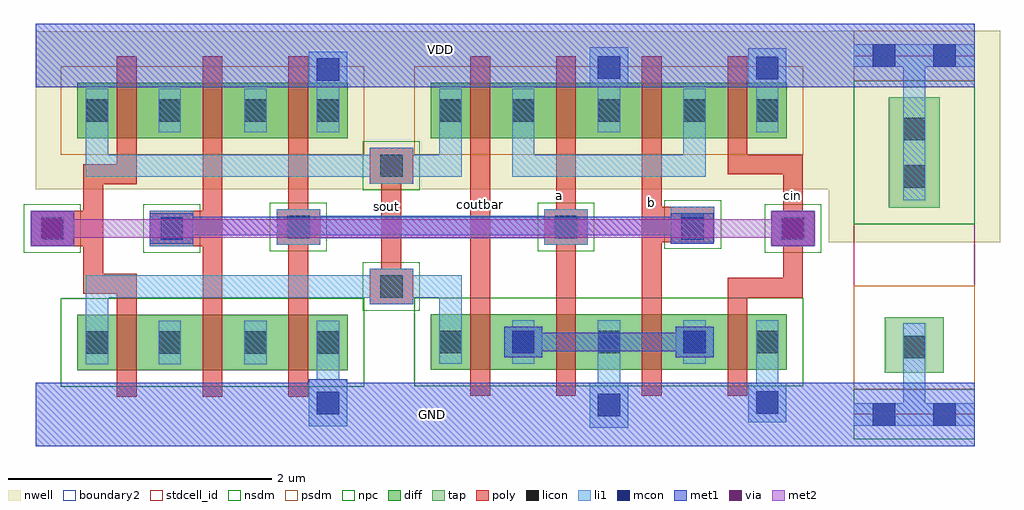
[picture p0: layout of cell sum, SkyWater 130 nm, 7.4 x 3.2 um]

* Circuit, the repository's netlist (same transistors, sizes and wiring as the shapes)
** sch_path: /home/joyen/ee5311/EE5311/assignments/assignment7/sum.sch
.subckt sum VDD a b coutbar cin sout GND
*.PININFO sout:O a:I VDD:B GND:B b:I coutbar:I cin:I
XM1 sout coutbar net4 GND sky130_fd_pr__nfet_01v8 L=0.15 W=0.42 nf=1
XM2 net1 b VDD VDD sky130_fd_pr__pfet_01v8 L=0.15 W=0.42 nf=1
XM4 sout coutbar net1 VDD sky130_fd_pr__pfet_01v8 L=0.15 W=0.42 nf=1
XM5 net1 a VDD VDD sky130_fd_pr__pfet_01v8 L=0.15 W=0.42 nf=1
XM6 net1 cin VDD VDD sky130_fd_pr__pfet_01v8 L=0.15 W=0.42 nf=1
XM7 net3 a VDD VDD sky130_fd_pr__pfet_01v8 L=0.15 W=0.42 nf=1
XM3 net2 b net3 VDD sky130_fd_pr__pfet_01v8 L=0.15 W=0.42 nf=1
XM8 sout cin net2 VDD sky130_fd_pr__pfet_01v8 L=0.15 W=0.42 nf=1
XM9 net4 a GND GND sky130_fd_pr__nfet_01v8 L=0.15 W=0.42 nf=1
XM10 net4 b GND GND sky130_fd_pr__nfet_01v8 L=0.15 W=0.42 nf=1
XM11 net4 cin GND GND sky130_fd_pr__nfet_01v8 L=0.15 W=0.42 nf=1
XM12 sout cin net6 GND sky130_fd_pr__nfet_01v8 L=0.15 W=0.42 nf=1
XM13 net6 b net5 GND sky130_fd_pr__nfet_01v8 L=0.15 W=0.42 nf=1
XM14 net5 a GND GND sky130_fd_pr__nfet_01v8 L=0.15 W=0.42 nf=1
.ends

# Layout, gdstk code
from math import pi, radians
import gdstk
lib = gdstk.Library(unit=1e-6, precision=1e-09)
def R(c, l, rs):  # rectangles x0, y0, x1, y1
    for r in rs: c.add(gdstk.rectangle(r[:2], r[2:], *l))
def A(c, l, x, y, w, h, nx, ny, dx, dy):  # array of equal rectangles
    R(c, l, [(x+i*dx, y+j*dy, x+i*dx+w, y+j*dy+h) for i in range(nx) for j in range(ny)])
nwell = (64, 20)
diff = (65, 20)
tap = (65, 44)
poly = (66, 20)
licon = (66, 44)
li1 = (67, 20)
mcon = (67, 44)
met1 = (68, 20)
via = (68, 44)
met2 = (69, 20)
stdcell_id = (81, 4)
nsdm = (93, 44)
psdm = (94, 20)
npc = (95, 20)
boundary2 = (236, 0)

vias_gen_10 = lib.new_cell('vias_gen$10')
R(vias_gen_10, li1, [(0,0,0.325,0.23)])
R(vias_gen_10, mcon, [(0.08,0.03,0.25,0.2)])
R(vias_gen_10, met1, [(0,0,0.325,0.23)])

vias_gen_8 = lib.new_cell('vias_gen$8')
R(vias_gen_8, li1, [(0,0,0.33,0.23)])
R(vias_gen_8, mcon, [(0.08,0.03,0.25,0.2)])
R(vias_gen_8, met1, [(0,0,0.33,0.23)])

vias_gen_7 = lib.new_cell('vias_gen$7')
R(vias_gen_7, poly, [(0,0,0.33,0.27)])
R(vias_gen_7, licon, [(0.08,0.05,0.25,0.22)])
R(vias_gen_7, li1, [(0,0,0.33,0.27)])
R(vias_gen_7, npc, [(-0.05,-0.05,0.38,0.32)])

pfet_1 = lib.new_cell('pfet$1')
R(pfet_1, nwell, [(-0.315,-0.39,2.365,0.81)])
R(pfet_1, diff, [(0,0,2.05,0.42)])
A(pfet_1, poly, 0.3, -0.2, 0.15, 0.82, 3, 1, 0.65, 0)
R(pfet_1, licon, [(0.065,0.125,0.235,0.295), (0.615,0.125,0.785,0.295), (1.265,0.125,1.435,0.295), (1.815,0.125,1.985,0.295)])
R(pfet_1, li1, [(0.065,0.045,0.235,0.375), (0.615,0.045,0.785,0.375), (1.265,0.045,1.435,0.375), (1.815,0.045,1.985,0.375)])
R(pfet_1, psdm, [(-0.125,-0.125,2.175,0.545)])

nfet_1 = lib.new_cell('nfet$1')
R(nfet_1, diff, [(0,0,2.05,0.42)])
A(nfet_1, poly, 0.3, -0.2, 0.15, 0.82, 3, 1, 0.65, 0)
R(nfet_1, licon, [(0.065,0.125,0.235,0.295), (0.615,0.125,0.785,0.295), (1.265,0.125,1.435,0.295), (1.815,0.125,1.985,0.295)])
R(nfet_1, li1, [(0.065,0.045,0.235,0.375), (0.615,0.045,0.785,0.375), (1.265,0.045,1.435,0.375), (1.815,0.045,1.985,0.375)])
R(nfet_1, nsdm, [(-0.125,-0.125,2.175,0.545)])

pfet = lib.new_cell('pfet')
R(pfet, nwell, [(-0.315,-0.39,3.015,0.81)])
R(pfet, diff, [(0,0,2.7,0.42)])
A(pfet, poly, 0.3, -0.2, 0.15, 0.82, 4, 1, 0.65, 0)
A(pfet, licon, 0.615, 0.125, 0.17, 0.17, 3, 1, 0.65, 0)
R(pfet, licon, [(0.065,0.125,0.235,0.295), (2.465,0.125,2.635,0.295)])
A(pfet, li1, 0.615, 0.045, 0.17, 0.33, 3, 1, 0.65, 0)
R(pfet, li1, [(0.065,0.045,0.235,0.375), (2.465,0.045,2.635,0.375)])
R(pfet, psdm, [(-0.125,-0.125,2.825,0.545)])

vias_gen = lib.new_cell('vias_gen')
R(vias_gen, li1, [(0,0,0.29,0.295)])
R(vias_gen, mcon, [(0.06,0.06,0.23,0.23)])
R(vias_gen, met1, [(0,0,0.29,0.295)])

vias_gen_1 = lib.new_cell('vias_gen$1')
R(vias_gen_1, li1, [(0,0,0.29,0.305)])
R(vias_gen_1, mcon, [(0.06,0.065,0.23,0.235)])
R(vias_gen_1, met1, [(0,0,0.29,0.305)])

vias_gen_2 = lib.new_cell('vias_gen$2')
R(vias_gen_2, li1, [(0,0,0.29,0.27)])
R(vias_gen_2, mcon, [(0.06,0.05,0.23,0.22)])
R(vias_gen_2, met1, [(0,0,0.29,0.27)])

nfet = lib.new_cell('nfet')
R(nfet, diff, [(0,0,2.7,0.42)])
A(nfet, poly, 0.3, -0.2, 0.15, 0.82, 4, 1, 0.65, 0)
A(nfet, licon, 0.615, 0.125, 0.17, 0.17, 3, 1, 0.65, 0)
R(nfet, licon, [(0.065,0.125,0.235,0.295), (2.465,0.125,2.635,0.295)])
A(nfet, li1, 0.615, 0.045, 0.17, 0.33, 3, 1, 0.65, 0)
R(nfet, li1, [(0.065,0.045,0.235,0.375), (2.465,0.045,2.635,0.375)])
R(nfet, nsdm, [(-0.125,-0.125,2.825,0.545)])

vias_gen_6 = lib.new_cell('vias_gen$6')
R(vias_gen_6, li1, [(0,0,0.29,0.3)])
R(vias_gen_6, mcon, [(0.06,0.065,0.23,0.235)])
R(vias_gen_6, met1, [(0,0,0.29,0.3)])

vias_gen_4 = lib.new_cell('vias_gen$4')
R(vias_gen_4, li1, [(0,0,0.29,0.34)])
R(vias_gen_4, mcon, [(0.06,0.085,0.23,0.255)])
R(vias_gen_4, met1, [(0,0,0.29,0.34)])

vias_gen_5 = lib.new_cell('vias_gen$5')
R(vias_gen_5, li1, [(0,0,0.29,0.355)])
R(vias_gen_5, mcon, [(0.06,0.09,0.23,0.26)])
R(vias_gen_5, met1, [(0,0,0.29,0.355)])

tap_ = lib.new_cell('tap')
R(tap_, nwell, [(-0.19,1.305,1.11,2.91)])
R(tap_, tap, [(0.235,0.315,0.685,0.735), (0.265,1.565,0.655,2.405)])
R(tap_, licon, [(0.375,0.425,0.545,0.595), (0.375,1.72,0.545,1.89), (0.375,2.08,0.545,2.25)])
R(tap_, li1, [(0,-0.085,0.92,0.085), (0.375,0,0.545,0.69), (0.375,1.625,0.545,2.72), (0,2.635,0.92,2.805)])
R(tap_, mcon, [(0.145,-0.085,0.315,0.085), (0.605,-0.085,0.775,0.085), (0.145,2.635,0.315,2.805), (0.605,2.635,0.775,2.805)])
R(tap_, met1, [(0,-0.24,0.92,0.24), (0,2.48,0.92,2.96)])
R(tap_, stdcell_id, [(0,0,0.92,2.72)])
R(tap_, nsdm, [(0,-0.19,0.92,0.19), (0,1.44,0.92,2.53)])
R(tap_, psdm, [(0,0.19,0.92,0.975), (0,2.53,0.92,2.91)])
R(tap_, boundary2, [(0,0,0.92,2.72)])
tap_.add(gdstk.Label('tap', (0,0), layer=83, texttype=44))

vias_gen_11 = lib.new_cell('vias_gen$11')
R(vias_gen_11, met1, [(0,0,0.32,0.26)])
R(vias_gen_11, via, [(0.085,0.055,0.235,0.205)])
R(vias_gen_11, met2, [(0,0,0.32,0.26)])

vias_gen_12 = lib.new_cell('vias_gen$12')
R(vias_gen_12, li1, [(0,0,0.29,0.23)])
R(vias_gen_12, mcon, [(0.06,0.03,0.23,0.2)])
R(vias_gen_12, met1, [(0,0,0.29,0.23)])

sum = lib.new_cell('sum')
sum.add(gdstk.FlexPath([(-2.59,-0.765),(-1.12,-0.765)], 0.14, ends="flush", simple_path=True, layer=68, datatype=20))  # met1
sum.add(gdstk.FlexPath([(-5.335,0.115),(-1.06,0.115)], 0.14, ends="flush", simple_path=True, layer=68, datatype=20))  # met1
sum.add(gdstk.FlexPath([(0,1.405),(-6.2,1.405)], 0.48, ends="flush", simple_path=True, layer=68, datatype=20))  # met1
sum.add(gdstk.FlexPath([(0.05,-1.315),(-6.2,-1.315)], 0.48, ends="flush", simple_path=True, layer=68, datatype=20))  # met1
sum.add(gdstk.FlexPath([(-6.235,0.095),(-0.385,0.095)], 0.14, ends="flush", simple_path=True, layer=69, datatype=20))  # met2
sum.add(gdstk.FlexPath([(-6,0.095),(-6.15,0.095)], 0.17, ends="flush", simple_path=True, layer=67, datatype=20))  # li1
sum.add(gdstk.FlexPath([(-0.385,0.095),(-0.535,0.095)], 0.17, ends="flush", simple_path=True, layer=67, datatype=20))  # li1
sum.add(gdstk.FlexPath([(-1.205,0.825),(-1.205,0.57),(-2.505,0.57),(-2.505,0.825)], 0.17, ends="flush", simple_path=True, layer=67, datatype=20))  # li1
sum.add(gdstk.FlexPath([(-3.055,0.825),(-3.055,0.57),(-5.735,0.57),(-5.735,0.825)], 0.17, ends="flush", simple_path=True, layer=67, datatype=20))  # li1
sum.add(gdstk.FlexPath([(-3.055,-0.6),(-3.055,-0.345),(-5.735,-0.345),(-5.735,-0.63)], 0.17, ends="flush", simple_path=True, layer=67, datatype=20))  # li1
sum.add(gdstk.FlexPath([(-4.285,0.105),(-2.105,0.105)], 0.17, ends="flush", simple_path=True, layer=67, datatype=20))  # li1
sum.add(gdstk.FlexPath([(-1.295,0.125),(-1.145,0.125)], 0.17, ends="flush", simple_path=True, layer=67, datatype=20))  # li1
sum.add(gdstk.FlexPath([(-5.095,0.095),(-5.245,0.095)], 0.17, ends="flush", simple_path=True, layer=67, datatype=20))  # li1
sum.add(gdstk.FlexPath([(-3.985,-0.935),(-3.985,-1.405)], 0.17, ends="flush", simple_path=True, layer=67, datatype=20))  # li1
sum.add(gdstk.FlexPath([(-0.655,1.155),(-0.655,1.46)], 0.17, ends="flush", simple_path=True, layer=67, datatype=20))  # li1
sum.add(gdstk.FlexPath([(-1.855,1.155),(-1.855,1.47)], 0.17, ends="flush", simple_path=True, layer=67, datatype=20))  # li1
sum.add(gdstk.FlexPath([(-0.655,-0.93),(-0.655,-1.375)], 0.17, ends="flush", simple_path=True, layer=67, datatype=20))  # li1
sum.add(gdstk.FlexPath([(-3.985,1.155),(-3.985,1.435)], 0.17, ends="flush", simple_path=True, layer=67, datatype=20))  # li1
sum.add(gdstk.FlexPath([(-1.855,-0.93),(-1.855,-1.415)], 0.17, ends="flush", simple_path=True, layer=67, datatype=20))  # li1
sum.add(gdstk.FlexPath([(-5.84,0.095),(-6.24,0.095)], 0.27, ends="flush", simple_path=True, layer=66, datatype=20))  # poly
sum.add(gdstk.FlexPath([(-1.455,0.125),(-1.055,0.125)], 0.27, ends="flush", simple_path=True, layer=66, datatype=20))  # poly
sum.add(gdstk.FlexPath([(-4.935,0.095),(-5.335,0.095)], 0.27, ends="flush", simple_path=True, layer=66, datatype=20))  # poly
sum.add(gdstk.FlexPath([(-3.505,0.655),(-3.505,-0.43)], 0.15, ends="flush", simple_path=True, layer=66, datatype=20))  # poly
sum.add(gdstk.FlexPath([(-0.955,-0.355),(-0.46,-0.355),(-0.46,0.58),(-0.955,0.58)], 0.15, ends="flush", simple_path=True, layer=66, datatype=20))  # poly
sum.add(gdstk.FlexPath([(-5.51,-0.36),(-5.51,-0.325),(-5.765,-0.325),(-5.765,0.505),(-5.435,0.505),(-5.435,0.505)], 0.15, ends="flush", simple_path=True, layer=66, datatype=20))  # poly
sum.add(gdstk.FlexPath([(-1.53,0.58),(-1.53,-0.355)], 0.15, ends="flush", simple_path=True, layer=66, datatype=20))  # poly
sum.add(gdstk.FlexPath([(-2.18,0.58),(-2.18,-0.355)], 0.15, ends="flush", simple_path=True, layer=66, datatype=20))  # poly
sum.add(gdstk.FlexPath([(-2.83,0.58),(-2.83,-0.355)], 0.15, ends="flush", simple_path=True, layer=66, datatype=20))  # poly
sum.add(gdstk.FlexPath([(-4.21,0.58),(-4.21,-0.385)], 0.15, ends="flush", simple_path=True, layer=66, datatype=20))  # poly
sum.add(gdstk.FlexPath([(-4.86,0.58),(-4.86,-0.385)], 0.15, ends="flush", simple_path=True, layer=66, datatype=20))  # poly
sum.add(gdstk.Reference(vias_gen_10, (-1.385,-0.02)))
sum.add(gdstk.Reference(vias_gen_8, (-5.335,-0.02)))
sum.add(gdstk.Reference(vias_gen_7, (-5.005,0.23), rotation=pi))
sum.add(gdstk.Reference(vias_gen_7, (-1.385,-0.01)))
sum.add(gdstk.Reference(vias_gen_7, (-2.345,-0.03)))
sum.add(gdstk.Reference(vias_gen_7, (-4.375,-0.03)))
sum.add(gdstk.Reference(vias_gen_7, (-3.67,0.435)))
sum.add(gdstk.Reference(pfet_1, (-5.885,0.78)))
sum.add(gdstk.Reference(nfet_1, (-5.885,-0.98)))
sum.add(gdstk.Reference(pfet, (-3.205,0.78)))
sum.add(gdstk.Reference(vias_gen, (-0.8,1.165)))
sum.add(gdstk.Reference(vias_gen_1, (-2,1.165)))
sum.add(gdstk.Reference(vias_gen_2, (-4.13,1.165)))
sum.add(gdstk.Reference(nfet, (-3.205,-0.975)))
sum.add(gdstk.Reference(vias_gen_6, (-0.8,-1.375)))
sum.add(gdstk.Reference(vias_gen_4, (-2,-1.415)))
sum.add(gdstk.Reference(vias_gen_5, (-4.13,-1.405)))
sum.add(gdstk.Reference(tap_, (0,-1.315)))
sum.add(gdstk.Reference(vias_gen_8, (-6.24,-0.02)))
sum.add(gdstk.Reference(vias_gen_7, (-5.91,0.23), rotation=pi))
sum.add(gdstk.Reference(vias_gen_11, (-6.235,-0.035)))
sum.add(gdstk.Reference(vias_gen_8, (-0.625,-0.02)))
sum.add(gdstk.Reference(vias_gen_7, (-0.295,0.23), rotation=pi))
sum.add(gdstk.Reference(vias_gen_11, (-0.62,-0.035)))
sum.add(gdstk.Reference(vias_gen_7, (-3.67,-0.48)))
sum.add(gdstk.Reference(vias_gen_12, (-2.65,-0.88)))
sum.add(gdstk.Reference(vias_gen_12, (-1.35,-0.88)))
sum.add(gdstk.Label('cin', (-0.465,0.345), layer=66, texttype=5))
sum.add(gdstk.Label('a', (-2.23,0.345), layer=66, texttype=5))
sum.add(gdstk.Label('sout', (-3.54,0.26), layer=66, texttype=5))
sum.add(gdstk.Label('b', (-1.53,0.295), layer=66, texttype=5))
sum.add(gdstk.Label('coutbar', (-2.83,0.28), layer=66, texttype=5))
sum.add(gdstk.Label('VDD', (-3.135,1.45), layer=68, texttype=5))
sum.add(gdstk.Label('GND', (-3.19,-1.315), layer=68, texttype=5))

lib.write_gds('sum.gds')
